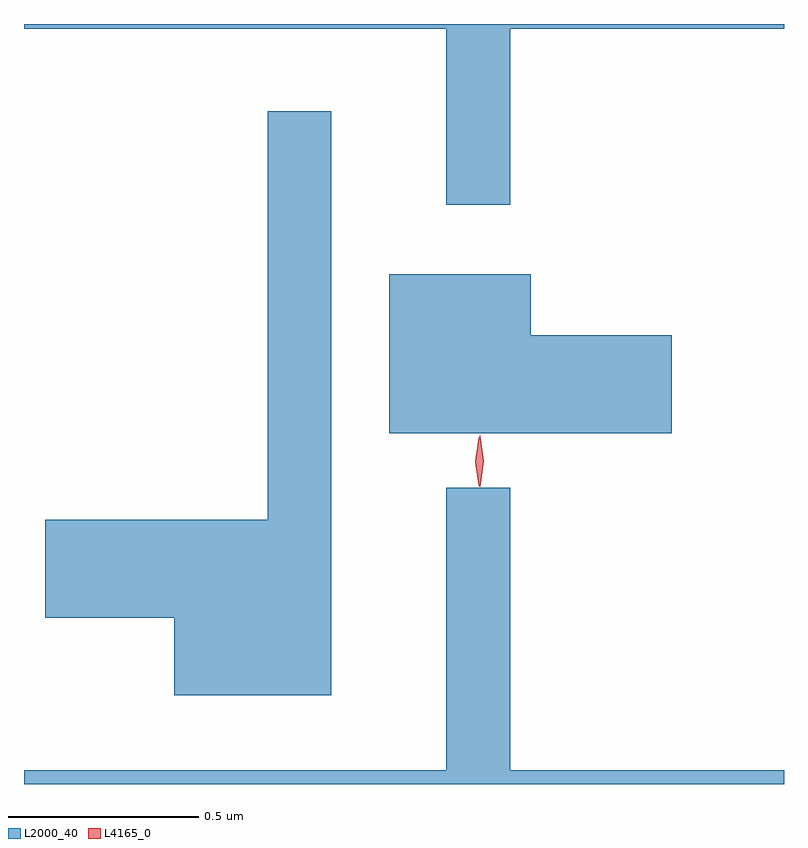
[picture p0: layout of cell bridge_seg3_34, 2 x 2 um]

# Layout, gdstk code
import gdstk
lib = gdstk.Library(unit=1e-6, precision=1e-09)
def P(c, l, *ps):  # polygons
    for p in ps: c.add(gdstk.Polygon(p, *l))
L2000_40 = (2000, 40)
L4165_0 = (4165, 0)

bridge_seg3_34 = lib.new_cell('bridge_seg3_34')
P(bridge_seg3_34, L2000_40, [(1330.249,1179.296),(1330.97,1179.296),(1330.97,1179.308),(1328.97,1179.308),(1328.97,1179.296),(1330.081,1179.296),(1330.081,1178.833),(1330.249,1178.833)],
  [(1329.779,1179.078),(1329.611,1179.078),(1329.611,1178.004),(1329.026,1178.004),(1329.026,1177.746),(1329.366,1177.746),(1329.366,1177.541),(1329.779,1177.541)],
  [(1330.674,1178.489),(1330.304,1178.489),(1330.304,1178.649),(1329.931,1178.649),(1329.931,1178.231),(1330.674,1178.231)],
  [(1330.97,1177.344),(1330.249,1177.344),(1330.249,1178.088),(1330.081,1178.088),(1330.081,1177.344),(1328.97,1177.344),(1328.97,1177.308),(1330.97,1177.308)])
P(bridge_seg3_34, L4165_0, [(1330.169,1178.09),(1330.16,1178.158),(1330.169,1178.225),(1330.17,1178.226),(1330.17,1178.225),(1330.18,1178.158),(1330.17,1178.09),(1330.17,1178.09)],
  [(1330.167,1178.093),(1330.167,1178.093),(1330.157,1178.156),(1330.167,1178.219),(1330.167,1178.22),(1330.168,1178.219),(1330.177,1178.156),(1330.168,1178.093)])

lib.write_gds('bridge_seg3_34.gds')
